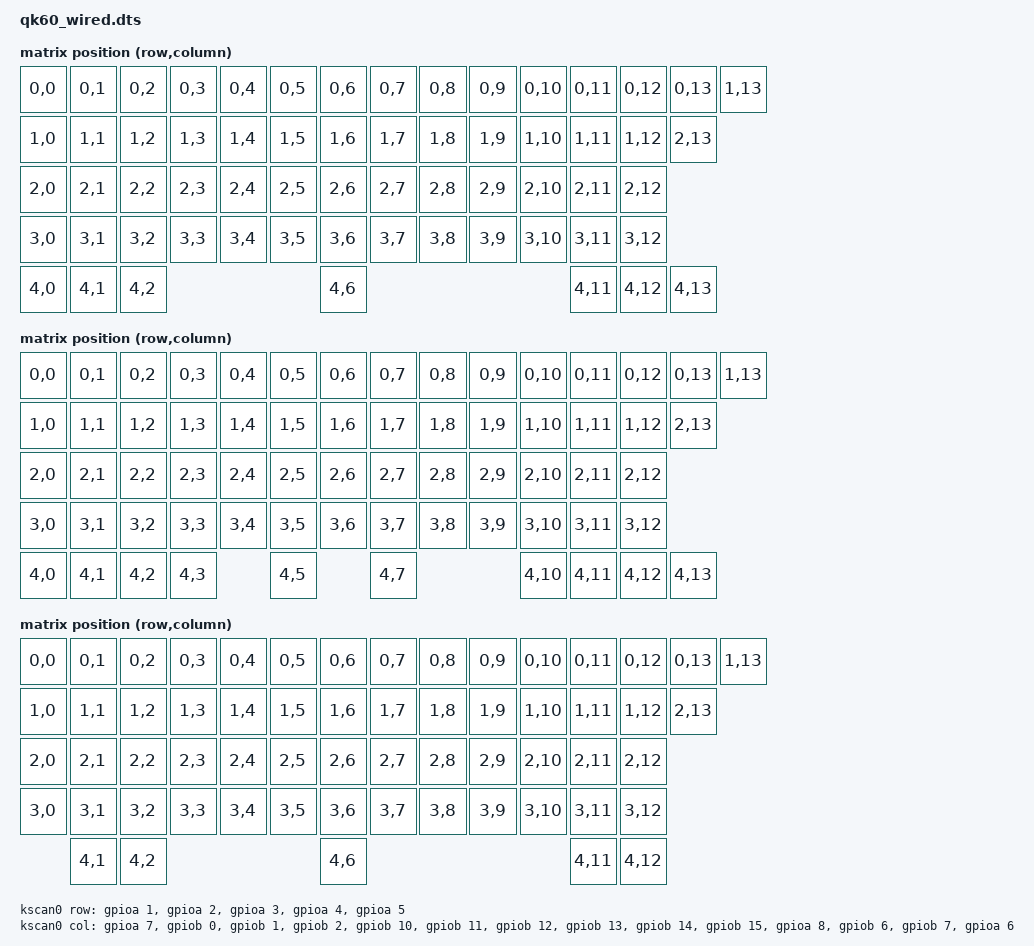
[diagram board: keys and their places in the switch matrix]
/*
* Copyright (c) 2023 The ZMK Contributors
* SPDX-License-Identifier: MIT
*/

/dts-v1/;

#include <st/f1/stm32f103Xb.dtsi>
#include <st/f1/stm32f103c(8-b)tx-pinctrl.dtsi>
#include <dt-bindings/zmk/matrix_transform.h>

/ {

  chosen {
    zephyr,sram = &sram0;
    zephyr,flash = &flash0;
    // zephyr,console = &cdc_acm_uart;
    // zephyr,shell-uart = &cdc_acm_uart;
    zephyr,code-partition = &code_partition;
    zmk,matrix_transform = &hhkb_transform;
    zmk,kscan = &kscan0;
  };

  default_transform: keymap_transform_0 {
    compatible = "zmk,matrix-transform";
    columns = <14>;
    rows = <5>;
    map = <
    RC(0,0) RC(0,1) RC(0,2) RC(0,3) RC(0,4) RC(0,5) RC(0,6) RC(0,7) RC(0,8) RC(0,9) RC(0,10) RC(0,11) RC(0,12) RC(0,13) RC(1,13)
    RC(1,0) RC(1,1) RC(1,2) RC(1,3) RC(1,4) RC(1,5) RC(1,6) RC(1,7) RC(1,8) RC(1,9) RC(1,10) RC(1,11) RC(1,12) RC(2,13)
    RC(2,0) RC(2,1) RC(2,2) RC(2,3) RC(2,4) RC(2,5) RC(2,6) RC(2,7) RC(2,8) RC(2,9) RC(2,10) RC(2,11) RC(2,12)
    RC(3,0) RC(3,1) RC(3,2) RC(3,3) RC(3,4) RC(3,5) RC(3,6) RC(3,7) RC(3,8) RC(3,9) RC(3,10) RC(3,11) RC(3,12)
    RC(4,0) RC(4,1) RC(4,2)                         RC(4,6)                                  RC(4,11) RC(4,12) RC(4,13)
    >;
  };

  split_bs_transform: keymap_transform_1 {
    compatible = "zmk,matrix-transform";
    columns = <14>;
    rows = <5>;
    map = <
    RC(0,0) RC(0,1) RC(0,2) RC(0,3) RC(0,4) RC(0,5) RC(0,6) RC(0,7) RC(0,8) RC(0,9) RC(0,10) RC(0,11) RC(0,12) RC(0,13) RC(1,13)
    RC(1,0) RC(1,1) RC(1,2) RC(1,3) RC(1,4) RC(1,5) RC(1,6) RC(1,7) RC(1,8) RC(1,9) RC(1,10) RC(1,11) RC(1,12) RC(2,13)
    RC(2,0) RC(2,1) RC(2,2) RC(2,3) RC(2,4) RC(2,5) RC(2,6) RC(2,7) RC(2,8) RC(2,9) RC(2,10) RC(2,11) RC(2,12)
    RC(3,0) RC(3,1) RC(3,2) RC(3,3) RC(3,4) RC(3,5) RC(3,6) RC(3,7) RC(3,8) RC(3,9) RC(3,10) RC(3,11) RC(3,12)
    RC(4,0) RC(4,1) RC(4,2) RC(4,3)         RC(4,5)         RC(4,7)                 RC(4,10) RC(4,11) RC(4,12) RC(4,13)
    >;
  };

  hhkb_transform: keymap_transform_2 {
    compatible = "zmk,matrix-transform";
    columns = <14>;
    rows = <5>;
    map = <
    RC(0,0) RC(0,1) RC(0,2) RC(0,3) RC(0,4) RC(0,5) RC(0,6) RC(0,7) RC(0,8) RC(0,9) RC(0,10) RC(0,11) RC(0,12) RC(0,13) RC(1,13)
    RC(1,0) RC(1,1) RC(1,2) RC(1,3) RC(1,4) RC(1,5) RC(1,6) RC(1,7) RC(1,8) RC(1,9) RC(1,10) RC(1,11) RC(1,12) RC(2,13)
    RC(2,0) RC(2,1) RC(2,2) RC(2,3) RC(2,4) RC(2,5) RC(2,6) RC(2,7) RC(2,8) RC(2,9) RC(2,10) RC(2,11) RC(2,12)
    RC(3,0) RC(3,1) RC(3,2) RC(3,3) RC(3,4) RC(3,5) RC(3,6) RC(3,7) RC(3,8) RC(3,9) RC(3,10) RC(3,11) RC(3,12)
            RC(4,1) RC(4,2)                         RC(4,6)                                  RC(4,11) RC(4,12)
    >;
  };

  kscan0: kscan {
    compatible = "zmk,kscan-gpio-matrix";
    diode-direction = "col2row";
    row-gpios
    = <&gpioa 1 (GPIO_ACTIVE_HIGH | GPIO_PULL_DOWN)>
    , <&gpioa 2 (GPIO_ACTIVE_HIGH | GPIO_PULL_DOWN)>
    , <&gpioa 3 (GPIO_ACTIVE_HIGH | GPIO_PULL_DOWN)>
    , <&gpioa 4 (GPIO_ACTIVE_HIGH | GPIO_PULL_DOWN)>
    , <&gpioa 5 (GPIO_ACTIVE_HIGH | GPIO_PULL_DOWN)>
    ;
    col-gpios
    = <&gpioa 7 GPIO_ACTIVE_HIGH>
    , <&gpiob 0 GPIO_ACTIVE_HIGH>
    , <&gpiob 1 GPIO_ACTIVE_HIGH>
    , <&gpiob 2 GPIO_ACTIVE_HIGH>
    , <&gpiob 10 GPIO_ACTIVE_HIGH>
    , <&gpiob 11 GPIO_ACTIVE_HIGH>
    , <&gpiob 12 GPIO_ACTIVE_HIGH>
    , <&gpiob 13 GPIO_ACTIVE_HIGH>
    , <&gpiob 14 GPIO_ACTIVE_HIGH>
    , <&gpiob 15 GPIO_ACTIVE_HIGH>
    , <&gpioa 8 GPIO_ACTIVE_HIGH>
    , <&gpiob 6 GPIO_ACTIVE_HIGH>
    , <&gpiob 7 GPIO_ACTIVE_HIGH>
    , <&gpioa 6 GPIO_ACTIVE_HIGH>
    ;
  };

  leds {
	  compatible = "gpio-leds";
	  caps_lock_led: caps_lock_led {
		  gpios = <&gpioa 0 GPIO_ACTIVE_LOW>;
		  label = "CAPS_LOCK_LED";
	  };
  };
};

&pinctrl {
  /*
  * Configures number of pins assigned to the SWJ debug port.
  *
  *    * full         - Full SWJ (JTAG-DP + SW-DP).
  *    * no-njtrst    - Full SWJ (JTAG-DP + SW-DP) but without NJTRST.
  *                     Releases: PB4.
  *    * jtag-disable - JTAG-DP Disabled and SW-DP Enabled.
  *                     Releases: PA15 PB3 PB4.
  *    * disable      - JTAG-DP Disabled and SW-DP Disabled.
  *                     Releases: PA13 PA14 PA15 PB3 PB4.
  *
  *  If absent, then Full SWJ (JTAG-DP + SW-DP) is used (reset state).
  */

  // swj-cfg = "jtag-disable";
  // swj-cfg = "disable";
  swj-cfg = "full";
};

&clk_hse {
	clock-frequency = <DT_FREQ_M(8)>;
	status = "okay";
};

&pll {
	mul = <9>;
	clocks = <&clk_hse>;
	status = "okay";
};

&rcc {
	clocks = <&pll>;
	clock-frequency = <DT_FREQ_M(72)>;
	ahb-prescaler = <1>;
	apb1-prescaler = <2>;
	apb2-prescaler = <1>;
};

&flash0 {
  partitions {
    compatible = "fixed-partitions";
    #address-cells = <1>;
    #size-cells = <1>;

    /*
    * unknown bootloader
    */
    boot_partition: partition@0 {
      label = "bootloader";
      reg = <0x0 DT_SIZE_K(24)>;
      read-only;
    };

    code_partition: partition@6000 {
      label = "code";
      reg = <DT_SIZE_K(24) (DT_SIZE_K(128) - DT_SIZE_K(24))>;
      read-only;
    };

    // Set 6Kb of storage at the end of the 128Kb of flash
    /*
    storage_partition: partition@1e800 {
      label = "storage";
      reg = <(DT_SIZE_K(128) - DT_SIZE_K(6)) DT_SIZE_K(6)>;
    };
    */
  };
};

&usb {
  status = "okay";
  pinctrl-0 = <&usb_dm_pa11 &usb_dp_pa12>;
  pinctrl-names = "default";
};
